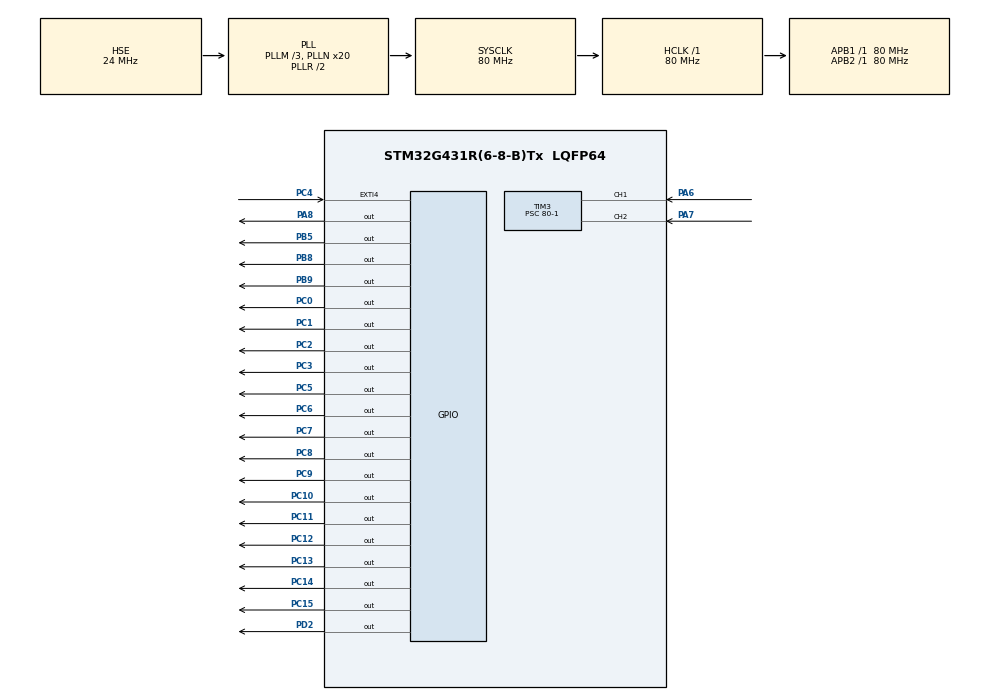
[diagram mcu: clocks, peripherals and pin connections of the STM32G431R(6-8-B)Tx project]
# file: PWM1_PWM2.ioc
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Mcu.Family=STM32G4
Mcu.Name=STM32G431R(6-8-B)Tx
Mcu.Package=LQFP64
NVIC.PriorityGroup=NVIC_PRIORITYGROUP_4
NVIC.TIM3_IRQn=true\:0\:0\:false\:false\:true\:true\:true\:true
PA13.Mode=Serial_Wire
PA13.Signal=SYS_JTMS-SWDIO
PA14.Mode=Serial_Wire
PA14.Signal=SYS_JTCK-SWCLK
PA6.Signal=S_TIM3_CH1
PA7.Signal=S_TIM3_CH2
PA8.Signal=GPIO_Output
PB5.Signal=GPIO_Output
PB8-BOOT0.Signal=GPIO_Output
PB9.Signal=GPIO_Output
PC0.Signal=GPIO_Output
PC1.Signal=GPIO_Output
PC10.PinState=GPIO_PIN_SET
PC10.Signal=GPIO_Output
PC11.PinState=GPIO_PIN_SET
PC11.Signal=GPIO_Output
PC12.PinState=GPIO_PIN_SET
PC12.Signal=GPIO_Output
PC13.PinState=GPIO_PIN_SET
PC13.Signal=GPIO_Output
PC14-OSC32_IN.PinState=GPIO_PIN_SET
PC14-OSC32_IN.Signal=GPIO_Output
PC15-OSC32_OUT.PinState=GPIO_PIN_SET
PC15-OSC32_OUT.Signal=GPIO_Output
PC2.Signal=GPIO_Output
PC3.Signal=GPIO_Output
PC4.Signal=GPXTI4
PC5.Signal=GPIO_Output
PC6.Signal=GPIO_Output
PC7.Signal=GPIO_Output
PC8.PinState=GPIO_PIN_SET
PC8.Signal=GPIO_Output
PC9.PinState=GPIO_PIN_SET
PC9.Signal=GPIO_Output
PD2.Signal=GPIO_Output
PF0-OSC_IN.Mode=HSE-External-Oscillator
PF0-OSC_IN.Signal=RCC_OSC_IN
PF1-OSC_OUT.Mode=HSE-External-Oscillator
PF1-OSC_OUT.Signal=RCC_OSC_OUT
ProjectManager.HeapSize=0x200
ProjectManager.StackSize=0x400
ProjectManager.TargetToolchain=MDK-ARM V5.32
RCC.ADC12Freq_Value=80000000
RCC.AHBFreq_Value=80000000
RCC.APB1Freq_Value=80000000
RCC.APB1TimFreq_Value=80000000
RCC.APB2Freq_Value=80000000
RCC.APB2TimFreq_Value=80000000
RCC.CortexFreq_Value=80000000
RCC.EXTERNAL_CLOCK_VALUE=12288000
RCC.HCLKFreq_Value=80000000
RCC.HSE_VALUE=24000000
RCC.HSI48_VALUE=48000000
RCC.HSI_VALUE=16000000
RCC.LSE_VALUE=32768
RCC.PLLM=RCC_PLLM_DIV3
RCC.PLLN=20
RCC.PLLSourceVirtual=RCC_PLLSOURCE_HSE
RCC.SYSCLKFreq_VALUE=80000000
RCC.SYSCLKSource=RCC_SYSCLKSOURCE_PLLCLK
RCC.USBFreq_Value=80000000
RCC.VCOOutputFreq_Value=160000000
SH.S_TIM3_CH1.0=TIM3_CH1,Input_Capture1_from_TI1
SH.S_TIM3_CH2.0=TIM3_CH2,Input_Capture2_from_TI2
TIM3.Channel-Input_Capture1_from_TI1=TIM_CHANNEL_1
TIM3.Channel-Input_Capture2_from_TI2=TIM_CHANNEL_2
TIM3.ICPolarity_CH2=TIM_INPUTCHANNELPOLARITY_RISING
TIM3.Prescaler=80-1
VP_SYS_VS_DBSignals.Mode=DisableDeadBatterySignals
VP_TIM3_VS_ClockSourceINT.Mode=Internal
board=custom

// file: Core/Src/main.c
/* USER CODE BEGIN Header */
/**
  ******************************************************************************
  * @file           : main.c
  * @brief          : Main program body
  ******************************************************************************
  * @attention
  *
  * Copyright (c) 2024 STMicroelectronics.
  * All rights reserved.
  *
  * This software is licensed under terms that can be found in the LICENSE file
  * in the root directory of this software component.
  * If no LICENSE file comes with this software, it is provided AS-IS.
  *
  ******************************************************************************
  */
/* USER CODE END Header */
#include "main.h"
#include "tim.h"
#include "gpio.h"

/* USER CODE BEGIN Includes */

#include "led.h"
#include "lcd.h"
#include "timer.h"
#include "stdio.h"
#include "string.h"

/* USER CODE END Includes */

/* USER CODE BEGIN PTD */

unsigned char ucled=0x00;
unsigned char lcd_text[30];

__IO uint32_t uwTick_Lcd;

/* USER CODE END PTD */

void SystemClock_Config(void);
/* USER CODE BEGIN PFP */
void lcd_proc(void);

/* USER CODE END PFP */

int main(void)
{

  /* MCU Configuration--------------------------------------------------------*/

  /* Reset of all peripherals, Initializes the Flash interface and the Systick. */
  HAL_Init();

  /* Configure the system clock */
  SystemClock_Config();

  /* Initialize all configured peripherals */
  MX_GPIO_Init();
  MX_TIM3_Init();
  /* USER CODE BEGIN 2 */

    LCD_Init();
    LCD_Clear(Black);
    LCD_SetBackColor(Black);
    LCD_SetTextColor(White);

    led_disp(ucled);
    //开启定时器3两个通道的输入捕获
    HAL_TIM_IC_Start_IT(&htim3,TIM_CHANNEL_1);
    HAL_TIM_IC_Start_IT(&htim3,TIM_CHANNEL_2);

  /* USER CODE END 2 */

  /* Infinite loop */
  while (1)
  {

    /* USER CODE BEGIN 3 */
      lcd_proc();
  }
  /* USER CODE END 3 */
}

void SystemClock_Config(void)
{
  RCC_OscInitTypeDef RCC_OscInitStruct = {0};
  RCC_ClkInitTypeDef RCC_ClkInitStruct = {0};

  /** Configure the main internal regulator output voltage
  */
  HAL_PWREx_ControlVoltageScaling(PWR_REGULATOR_VOLTAGE_SCALE1);

  /** Initializes the RCC Oscillators according to the specified parameters
  * in the RCC_OscInitTypeDef structure.
  */
  RCC_OscInitStruct.OscillatorType = RCC_OSCILLATORTYPE_HSE;
  RCC_OscInitStruct.HSEState = RCC_HSE_ON;
  RCC_OscInitStruct.PLL.PLLState = RCC_PLL_ON;
  RCC_OscInitStruct.PLL.PLLSource = RCC_PLLSOURCE_HSE;
  RCC_OscInitStruct.PLL.PLLM = RCC_PLLM_DIV3;
  RCC_OscInitStruct.PLL.PLLN = 20;
  RCC_OscInitStruct.PLL.PLLP = RCC_PLLP_DIV2;
  RCC_OscInitStruct.PLL.PLLQ = RCC_PLLQ_DIV2;
  RCC_OscInitStruct.PLL.PLLR = RCC_PLLR_DIV2;
  if (HAL_RCC_OscConfig(&RCC_OscInitStruct) != HAL_OK)
  {
    Error_Handler();
  }

  /** Initializes the CPU, AHB and APB buses clocks
  */
  RCC_ClkInitStruct.ClockType = RCC_CLOCKTYPE_HCLK|RCC_CLOCKTYPE_SYSCLK
                              |RCC_CLOCKTYPE_PCLK1|RCC_CLOCKTYPE_PCLK2;
  RCC_ClkInitStruct.SYSCLKSource = RCC_SYSCLKSOURCE_PLLCLK;
  RCC_ClkInitStruct.AHBCLKDivider = RCC_SYSCLK_DIV1;
  RCC_ClkInitStruct.APB1CLKDivider = RCC_HCLK_DIV1;
  RCC_ClkInitStruct.APB2CLKDivider = RCC_HCLK_DIV1;

  if (HAL_RCC_ClockConfig(&RCC_ClkInitStruct, FLASH_LATENCY_2) != HAL_OK)
  {
    Error_Handler();
  }
}

/* USER CODE BEGIN 4 */

void lcd_proc(void)
{
    if((uwTick-uwTick_Lcd)<100)return;
    uwTick_Lcd=uwTick;

    memset(lcd_text,0,sizeof(lcd_text));
    sprintf((char *)lcd_text,"   PWM1_frq:%dHz      ",pwm1_frq_ch1);
    LCD_DisplayStringLine(Line1,lcd_text);

     memset(lcd_text,0,sizeof(lcd_text));
    sprintf((char *)lcd_text,"   PWM1_duty:%0.2f%%      ",pwm1_duty_ch1);
    LCD_DisplayStringLine(Line2,lcd_text);

    memset(lcd_text,0,sizeof(lcd_text));
    sprintf((char *)lcd_text,"   PWM2_frq:%dHz      ",pwm2_frq_ch2);
    LCD_DisplayStringLine(Line5,lcd_text);

    memset(lcd_text,0,sizeof(lcd_text));
    sprintf((char *)lcd_text,"   PWM2_duty:%0.2f%%      ",pwm2_duty_ch2);
    LCD_DisplayStringLine(Line6,lcd_text);
}

/* USER CODE END 4 */

void Error_Handler(void)
{
  __disable_irq();
  while (1)
  {
  }
}
